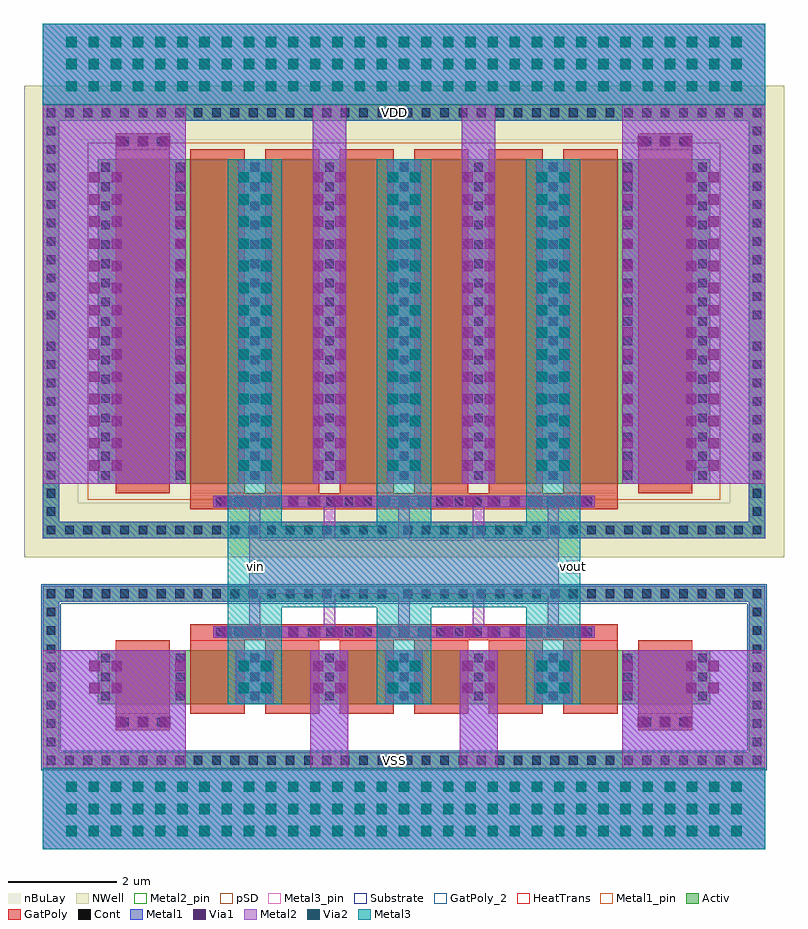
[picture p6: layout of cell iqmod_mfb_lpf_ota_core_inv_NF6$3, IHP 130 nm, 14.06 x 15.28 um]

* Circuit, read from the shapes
.subckt iqmod_mfb_lpf_ota_core_inv_NF6$3 VDD VSS vin vout
XM1 VSS VSS VSS VSS sg13_lv_nmos w=1u l=1u m=2
XM2 vout vin VSS VSS sg13_lv_nmos w=1u l=1u m=6
XM3 VDD VDD VDD VDD sg13_lv_pmos w=6u l=1u m=2
XM4 vout vin VDD VDD sg13_lv_pmos w=6u l=1u m=6
.ends

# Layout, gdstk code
import gdstk
lib = gdstk.Library(unit=1e-6, precision=1e-09)
def R(c, l, rs):  # rectangles x0, y0, x1, y1
    for r in rs: c.add(gdstk.rectangle(r[:2], r[2:], *l))
def A(c, l, x, y, w, h, nx, ny, dx, dy):  # array of equal rectangles
    R(c, l, [(x+i*dx, y+j*dy, x+i*dx+w, y+j*dy+h) for i in range(nx) for j in range(ny)])
def P(c, l, *ps):  # polygons
    for p in ps: c.add(gdstk.Polygon(p, *l))
Activ = (1, 0)
GatPoly = (5, 0)
GatPoly_2 = (5, 2)
Cont = (6, 0)
Metal1 = (8, 0)
Metal1_pin = (8, 2)
Metal2 = (10, 0)
Metal2_pin = (10, 2)
pSD = (14, 0)
Via1 = (19, 0)
Via2 = (29, 0)
Metal3 = (30, 0)
Metal3_pin = (30, 2)
NWell = (31, 0)
nBuLay = (32, 0)
Substrate = (40, 0)
HeatTrans = (51, 0)

pmos_77 = lib.new_cell('pmos$77')
A(pmos_77, Activ, 0, 0, 0.3, 0.3, 9, 1, 1.38, 0)
R(pmos_77, Activ, [(-1.01,-0.71,-0.71,6.71), (12.05,-0.71,12.35,6.71), (0,0,11.34,6), (-1.01,6.71,12.35,7.01)])
P(pmos_77, Activ, [(-1.01,-1.01),(-1.01,6.71),(-0.71,6.71),(-0.71,-0.71),(12.05,-0.71),(12.05,6.71),(-1.01,6.71),(-1.01,7.01),(12.35,7.01),(12.35,-1.01)])
A(pmos_77, GatPoly, 0.34, -0.18, 1, 6.36, 8, 1, 1.38, 0)
R(pmos_77, GatPoly, [(0.34,-0.18,1.34,6.18)])
A(pmos_77, Cont, -0.94, -0.94, 0.16, 0.16, 19, 2, 0.34, 7.72)
A(pmos_77, Cont, 5.66, -0.94, 0.16, 0.16, 20, 2, 0.34, 7.72)
A(pmos_77, Cont, -0.94, -0.6, 0.16, 0.16, 1, 10, 0, 0.34)
A(pmos_77, Cont, 12.12, -0.6, 0.16, 0.16, 1, 10, 0, 0.34)
A(pmos_77, Cont, 0.07, 0.07, 0.16, 0.16, 9, 4, 1.38, 0.355)
A(pmos_77, Cont, 0.07, 1.495, 0.16, 0.16, 9, 4, 1.38, 0.355)
A(pmos_77, Cont, 0.07, 2.92, 0.16, 0.16, 9, 4, 1.38, 0.355)
A(pmos_77, Cont, -0.94, 3.04, 0.16, 0.16, 1, 11, 0, 0.34)
A(pmos_77, Cont, 12.12, 3.04, 0.16, 0.16, 1, 11, 0, 0.34)
A(pmos_77, Cont, 0.07, 4.345, 0.16, 0.16, 9, 4, 1.38, 0.355)
A(pmos_77, Cont, 0.07, 5.77, 0.16, 0.16, 9, 1, 1.38, 0)
A(pmos_77, Metal1, 1.45, 0, 0.16, 6, 8, 1, 1.38, 0)
R(pmos_77, Metal1, [(-1.01,-1.01,12.35,-0.71), (-1.01,-0.71,-0.71,6.71), (12.05,-0.71,12.35,6.71), (0.07,0,0.23,6), (0.07,0,0.23,6), (1.45,0,1.61,6), (-1.01,6.71,12.35,7.01)])
R(pmos_77, pSD, [(-0.18,-0.3,11.52,6.3)])
R(pmos_77, NWell, [(-1.36,-1.36,12.7,7.36), (-0.31,-0.31,11.65,6.31)])
R(pmos_77, nBuLay, [(-1.36,-0.36,-0.36,6.36), (11.7,-0.36,12.7,6.36), (-1.36,6.36,12.7,7.36)])
P(pmos_77, nBuLay, [(-1.36,-1.36),(-1.36,6.36),(-0.36,6.36),(-0.36,-0.36),(11.7,-0.36),(11.7,6.36),(-1.36,6.36),(-1.36,7.36),(12.7,7.36),(12.7,-1.36)])
R(pmos_77, Substrate, [(11.04,0,11.34,0.3)])
A(pmos_77, HeatTrans, 0.34, -0.18, 1, 6.36, 8, 1, 1.38, 0)
pmos_77.add(gdstk.Label('pmos', (0.84,3), layer=63, texttype=0))
pmos_77.add(gdstk.Label('well', (5.67,-0.86), layer=63, texttype=0))
pmos_77.add(gdstk.Label('pmos', (0.84,3), layer=51, texttype=0))
pmos_77.add(gdstk.Label('pmos', (2.22,3), layer=51, texttype=0))
pmos_77.add(gdstk.Label('pmos', (3.6,3), layer=51, texttype=0))
pmos_77.add(gdstk.Label('pmos', (4.98,3), layer=51, texttype=0))
pmos_77.add(gdstk.Label('pmos', (6.36,3), layer=51, texttype=0))
pmos_77.add(gdstk.Label('pmos', (7.74,3), layer=51, texttype=0))
pmos_77.add(gdstk.Label('pmos', (9.12,3), layer=51, texttype=0))
pmos_77.add(gdstk.Label('pmos', (10.5,3), layer=51, texttype=0))

nmos_77 = lib.new_cell('nmos$77')
A(nmos_77, Activ, 0, 0, 0.3, 0.3, 9, 1, 1.38, 0)
R(nmos_77, Activ, [(-1.01,-0.89,-0.71,1.89), (12.05,-0.89,12.35,1.89), (0,0,11.34,1), (-1.01,1.89,12.35,2.19)])
P(nmos_77, Activ, [(-1.01,-1.19),(-1.01,1.89),(-0.71,1.89),(-0.71,-0.89),(12.05,-0.89),(12.05,1.89),(-1.01,1.89),(-1.01,2.19),(12.35,2.19),(12.35,-1.19)])
A(nmos_77, GatPoly, 0.34, -0.18, 1, 1.36, 8, 1, 1.38, 0)
R(nmos_77, GatPoly_2, [(0.34,-0.18,1.34,1.18)])
A(nmos_77, Cont, -0.94, -1.12, 0.16, 0.16, 19, 2, 0.34, 3.08)
A(nmos_77, Cont, 5.66, -1.12, 0.16, 0.16, 20, 2, 0.34, 3.08)
A(nmos_77, Cont, -0.94, -0.78, 0.16, 0.16, 1, 4, 0, 0.34)
A(nmos_77, Cont, 12.12, -0.78, 0.16, 0.16, 1, 4, 0, 0.34)
A(nmos_77, Cont, 0.07, 0.07, 0.16, 0.16, 9, 3, 1.38, 0.35)
A(nmos_77, Cont, -0.94, 0.6, 0.16, 0.16, 1, 4, 0, 0.34)
A(nmos_77, Cont, 12.12, 0.6, 0.16, 0.16, 1, 4, 0, 0.34)
A(nmos_77, Metal1, 0.07, 0, 0.16, 1, 9, 1, 1.38, 0)
R(nmos_77, Metal1, [(-1.01,-1.19,12.35,-0.89), (-1.01,-0.89,-0.71,1.89), (12.05,-0.89,12.35,1.89), (-1.01,1.89,12.35,2.19)])
R(nmos_77, Metal1_pin, [(0.07,0,0.23,1), (1.45,0,1.61,1)])
R(nmos_77, pSD, [(-1.04,-0.86,-0.68,1.86), (12.02,-0.86,12.38,1.86), (-1.04,1.86,12.38,2.22)])
P(nmos_77, pSD, [(-1.04,-1.22),(-1.04,1.86),(-0.68,1.86),(-0.68,-0.86),(12.02,-0.86),(12.02,1.86),(-1.04,1.86),(-1.04,2.22),(12.38,2.22),(12.38,-1.22)])
R(nmos_77, Substrate, [(-1.04,-0.86,-0.68,1.86), (12.02,-0.86,12.38,1.86), (-1.04,1.86,12.38,2.22)])
P(nmos_77, Substrate, [(-1.04,-1.22),(-1.04,1.86),(-0.68,1.86),(-0.68,-0.86),(12.02,-0.86),(12.02,1.86),(-1.04,1.86),(-1.04,2.22),(12.38,2.22),(12.38,-1.22)])
A(nmos_77, HeatTrans, 0.34, -0.18, 1, 1.36, 8, 1, 1.38, 0)
nmos_77.add(gdstk.Label('nmos', (0.84,0.5), layer=63, texttype=0))
nmos_77.add(gdstk.Label('sub!', (5.67,-1.04), layer=63, texttype=0))
nmos_77.add(gdstk.Label('nmos', (0.84,0.5), layer=51, texttype=0))
nmos_77.add(gdstk.Label('nmos', (2.22,0.5), layer=51, texttype=0))
nmos_77.add(gdstk.Label('nmos', (3.6,0.5), layer=51, texttype=0))
nmos_77.add(gdstk.Label('nmos', (4.98,0.5), layer=51, texttype=0))
nmos_77.add(gdstk.Label('nmos', (6.36,0.5), layer=51, texttype=0))
nmos_77.add(gdstk.Label('nmos', (7.74,0.5), layer=51, texttype=0))
nmos_77.add(gdstk.Label('nmos', (9.12,0.5), layer=51, texttype=0))
nmos_77.add(gdstk.Label('nmos', (10.5,0.5), layer=51, texttype=0))

via_stack_704 = lib.new_cell('via_stack$704')
R(via_stack_704, Metal1, [(-6.295,-0.515,6.295,0.515)])
R(via_stack_704, Metal2, [(-6.295,-0.51,6.295,0.51)])
A(via_stack_704, Via1, -6.245, -0.505, 0.19, 0.19, 31, 3, 0.41, 0.41)
A(via_stack_704, Via2, -6.245, -0.505, 0.19, 0.19, 31, 3, 0.41, 0.41)
R(via_stack_704, Metal3, [(-6.295,-0.51,6.295,0.51)])

via_stack_705 = lib.new_cell('via_stack$705')
R(via_stack_705, Metal1, [(-3.425,-0.105,3.425,0.105)])
R(via_stack_705, Metal2, [(-3.425,-0.1,3.425,0.1)])
A(via_stack_705, Via1, -3.375, -0.095, 0.19, 0.19, 17, 1, 0.41, 0)

via_stack_706 = lib.new_cell('via_stack$706')
R(via_stack_706, GatPoly, [(-3.55,-0.15,3.55,0.15)])
A(via_stack_706, Cont, -3.48, -0.08, 0.16, 0.16, 21, 1, 0.34, 0)
R(via_stack_706, Metal1, [(-3.53,-0.08,3.53,0.08)])

via_stack_707 = lib.new_cell('via_stack$707')
R(via_stack_707, Metal1, [(-0.31,-2.81,0.31,2.81)])
R(via_stack_707, Metal2, [(-0.305,-2.81,0.305,2.81)])
A(via_stack_707, Via1, -0.3, -2.76, 0.19, 0.19, 1, 14, 0, 0.41)
A(via_stack_707, Via1, 0.11, -2.76, 0.19, 0.19, 1, 14, 0, 0.41)
A(via_stack_707, Via2, -0.3, -2.76, 0.19, 0.19, 1, 14, 0, 0.41)
A(via_stack_707, Via2, 0.11, -2.76, 0.19, 0.19, 1, 14, 0, 0.41)
R(via_stack_707, Metal3, [(-0.305,-2.81,0.305,2.81)])

via_stack_708 = lib.new_cell('via_stack$708')
R(via_stack_708, Metal1, [(-0.35,-0.31,0.35,0.31)])
R(via_stack_708, Metal2, [(-0.35,-0.305,0.35,0.305)])
R(via_stack_708, Via1, [(-0.3,-0.3,-0.11,-0.11), (0.11,-0.3,0.3,-0.11), (-0.3,0.11,-0.11,0.3), (0.11,0.11,0.3,0.3)])
R(via_stack_708, Via2, [(-0.3,-0.3,-0.11,-0.11), (0.11,-0.3,0.3,-0.11), (-0.3,0.11,-0.11,0.3), (0.11,0.11,0.3,0.3)])
R(via_stack_708, Metal3, [(-0.35,-0.305,0.35,0.305)])

via_stack_709 = lib.new_cell('via_stack$709')
R(via_stack_709, Metal1, [(-0.35,-0.31,0.35,0.31)])
R(via_stack_709, Metal2, [(-0.35,-0.305,0.35,0.305)])
R(via_stack_709, Via1, [(-0.3,-0.3,-0.11,-0.11), (0.11,-0.3,0.3,-0.11), (-0.3,0.11,-0.11,0.3), (0.11,0.11,0.3,0.3)])

via_stack_710 = lib.new_cell('via_stack$710')
R(via_stack_710, Metal1, [(-0.105,-0.35,0.105,0.35)])
R(via_stack_710, Metal2, [(-0.1,-0.35,0.1,0.35)])
R(via_stack_710, Via1, [(-0.095,-0.3,0.095,-0.11), (-0.095,0.11,0.095,0.3)])

via_stack_711 = lib.new_cell('via_stack$711')
R(via_stack_711, Metal1, [(-0.31,-2.81,0.31,2.81)])
R(via_stack_711, Metal2, [(-0.305,-2.81,0.305,2.81)])
A(via_stack_711, Via1, -0.3, -2.76, 0.19, 0.19, 1, 14, 0, 0.41)
A(via_stack_711, Via1, 0.11, -2.76, 0.19, 0.19, 1, 14, 0, 0.41)

via_stack_712 = lib.new_cell('via_stack$712')
R(via_stack_712, Metal1, [(-0.105,-2.81,0.105,2.81)])
R(via_stack_712, Metal2, [(-0.1,-2.81,0.1,2.81)])
A(via_stack_712, Via1, -0.095, -2.76, 0.19, 0.19, 1, 14, 0, 0.41)

via_stack_713 = lib.new_cell('via_stack$713')
R(via_stack_713, GatPoly, [(-0.49,-0.15,0.49,0.15)])
A(via_stack_713, Cont, -0.42, -0.08, 0.16, 0.16, 3, 1, 0.34, 0)
R(via_stack_713, Metal1, [(-0.555,-0.105,0.555,0.105)])
R(via_stack_713, Metal2, [(-0.555,-0.1,0.555,0.1)])
A(via_stack_713, Via1, -0.505, -0.095, 0.19, 0.19, 3, 1, 0.41, 0)

iqmod_mfb_lpf_ota_core_i = lib.new_cell('iqmod_mfb_lpf_ota_core_inv_NF6$3')
R(iqmod_mfb_lpf_ota_core_i, GatPoly, [(1.7,2.21,2.7,2.51), (11.36,2.21,12.36,2.51), (3.08,3.87,10.98,4.17), (3.08,6.29,10.98,6.59), (1.7,12.95,2.7,13.25), (11.36,12.95,12.36,13.25)])
A(iqmod_mfb_lpf_ota_core_i, Metal1, 3.92, 2.69, 0.7, 1, 5, 1, 1.38, 0)
A(iqmod_mfb_lpf_ota_core_i, Metal1, 3.96, 6.77, 0.62, 6, 5, 1, 1.38, 0)
R(iqmod_mfb_lpf_ota_core_i, Metal1, [(0.35,0,13.71,1.5), (0.35,1.5,2.995,3.69), (5.3,1.5,6,3.69), (6.61,1.5,7.11,1.8), (8.06,1.5,8.76,3.69), (11.065,1.5,13.71,3.69), (1.645,2.21,2.755,2.51), (11.305,2.21,12.415,2.51), (1.16,2.69,1.86,3.69), (12.2,2.69,12.9,3.69), (3.5,3.915,10.56,4.125), (3.5,6.335,10.56,6.545), (0.35,6.77,2.995,13.78), (1.2,6.77,1.82,12.77), (2.785,6.77,2.995,12.77), (5.34,6.77,5.96,13.78), (8.1,6.77,8.72,13.78), (11.065,6.77,13.71,13.78), (11.065,6.77,11.275,12.77), (12.24,6.77,12.86,12.77), (1.645,12.95,2.755,13.25), (11.305,12.95,12.415,13.25), (6.61,13.48,7.11,13.78), (0.35,13.78,13.71,15.28)])
R(iqmod_mfb_lpf_ota_core_i, Metal1_pin, [(6.735,1.525,6.985,1.775), (6.735,13.505,6.985,13.755)])
A(iqmod_mfb_lpf_ota_core_i, Metal2, 3.92, 2.69, 0.7, 1, 5, 1, 1.38, 0)
A(iqmod_mfb_lpf_ota_core_i, Metal2, 4.165, 4.12, 0.21, 2.22, 5, 1, 1.38, 0)
A(iqmod_mfb_lpf_ota_core_i, Metal2, 3.96, 6.77, 0.62, 6, 5, 1, 1.38, 0)
R(iqmod_mfb_lpf_ota_core_i, Metal2, [(0.35,0,13.71,1.5), (0.35,1.5,2.995,3.69), (5.3,1.5,6,3.69), (8.06,1.5,8.76,3.69), (11.065,1.5,13.71,3.69), (1.645,2.21,2.755,2.51), (11.305,2.21,12.415,2.51), (1.16,2.69,1.86,3.69), (12.2,2.69,12.9,3.69), (3.5,3.915,10.56,4.125), (4.165,4.73,9.895,5.73), (3.5,6.335,10.56,6.545), (0.35,6.77,2.995,13.78), (1.2,6.77,1.82,12.77), (2.785,6.77,2.995,12.77), (5.34,6.77,5.96,13.78), (8.1,6.77,8.72,13.78), (11.065,6.77,13.71,13.78), (11.065,6.77,11.275,12.77), (12.24,6.77,12.86,12.77), (1.645,12.95,2.755,13.25), (11.305,12.95,12.415,13.25), (0.35,13.78,13.71,15.28)])
R(iqmod_mfb_lpf_ota_core_i, Metal2_pin, [(4.165,5.105,4.415,5.355)])
A(iqmod_mfb_lpf_ota_core_i, Metal3, 3.77, 2.69, 1, 10.08, 3, 1, 2.76, 0)
R(iqmod_mfb_lpf_ota_core_i, Metal3, [(0.35,0,13.71,1.5), (3.77,4.48,10.29,5.98), (0.35,13.78,13.71,15.28)])
R(iqmod_mfb_lpf_ota_core_i, Metal3_pin, [(10.04,5.105,10.29,5.355)])
iqmod_mfb_lpf_ota_core_i.add(gdstk.Reference(pmos_77, (1.36,6.77)))
iqmod_mfb_lpf_ota_core_i.add(gdstk.Reference(nmos_77, (1.36,2.69)))
iqmod_mfb_lpf_ota_core_i.add(gdstk.Reference(via_stack_704, (7.03,14.53)))
iqmod_mfb_lpf_ota_core_i.add(gdstk.Reference(via_stack_705, (7.03,4.02)))
iqmod_mfb_lpf_ota_core_i.add(gdstk.Reference(via_stack_706, (7.03,4.02)))
iqmod_mfb_lpf_ota_core_i.add(gdstk.Reference(via_stack_704, (7.03,0.75)))
iqmod_mfb_lpf_ota_core_i.add(gdstk.Reference(via_stack_707, (4.27,9.77)))
iqmod_mfb_lpf_ota_core_i.add(gdstk.Reference(via_stack_705, (7.03,6.44)))
iqmod_mfb_lpf_ota_core_i.add(gdstk.Reference(via_stack_706, (7.03,6.44)))
iqmod_mfb_lpf_ota_core_i.add(gdstk.Reference(via_stack_708, (4.27,3.19)))
iqmod_mfb_lpf_ota_core_i.add(gdstk.Reference(via_stack_708, (7.03,3.19)))
iqmod_mfb_lpf_ota_core_i.add(gdstk.Reference(via_stack_709, (12.55,3.19)))
iqmod_mfb_lpf_ota_core_i.add(gdstk.Reference(via_stack_709, (8.41,3.19)))
iqmod_mfb_lpf_ota_core_i.add(gdstk.Reference(via_stack_709, (5.65,3.19)))
iqmod_mfb_lpf_ota_core_i.add(gdstk.Reference(via_stack_710, (11.17,3.19)))
iqmod_mfb_lpf_ota_core_i.add(gdstk.Reference(via_stack_709, (1.51,3.19)))
iqmod_mfb_lpf_ota_core_i.add(gdstk.Reference(via_stack_708, (9.79,3.19)))
iqmod_mfb_lpf_ota_core_i.add(gdstk.Reference(via_stack_710, (2.89,3.19)))
iqmod_mfb_lpf_ota_core_i.add(gdstk.Reference(via_stack_711, (12.55,9.77)))
iqmod_mfb_lpf_ota_core_i.add(gdstk.Reference(via_stack_707, (9.79,9.77)))
iqmod_mfb_lpf_ota_core_i.add(gdstk.Reference(via_stack_712, (11.17,9.77)))
iqmod_mfb_lpf_ota_core_i.add(gdstk.Reference(via_stack_712, (2.89,9.77)))
iqmod_mfb_lpf_ota_core_i.add(gdstk.Reference(via_stack_711, (1.51,9.77)))
iqmod_mfb_lpf_ota_core_i.add(gdstk.Reference(via_stack_707, (7.03,9.77)))
iqmod_mfb_lpf_ota_core_i.add(gdstk.Reference(via_stack_711, (5.65,9.77)))
iqmod_mfb_lpf_ota_core_i.add(gdstk.Reference(via_stack_711, (8.41,9.77)))
iqmod_mfb_lpf_ota_core_i.add(gdstk.Reference(via_stack_713, (2.2,2.36)))
iqmod_mfb_lpf_ota_core_i.add(gdstk.Reference(via_stack_713, (11.86,2.36)))
iqmod_mfb_lpf_ota_core_i.add(gdstk.Reference(via_stack_713, (2.2,13.1)))
iqmod_mfb_lpf_ota_core_i.add(gdstk.Reference(via_stack_713, (11.86,13.1)))
iqmod_mfb_lpf_ota_core_i.add(gdstk.Label('vin', (4.29,5.23), layer=10, texttype=25))
iqmod_mfb_lpf_ota_core_i.add(gdstk.Label('VSS', (6.86,1.65), layer=8, texttype=25))
iqmod_mfb_lpf_ota_core_i.add(gdstk.Label('VDD', (6.86,13.63), layer=8, texttype=25))
iqmod_mfb_lpf_ota_core_i.add(gdstk.Label('vout', (10.165,5.23), layer=30, texttype=25))

lib.write_gds('iqmod_mfb_lpf_ota_core_inv_NF6_3.gds')
